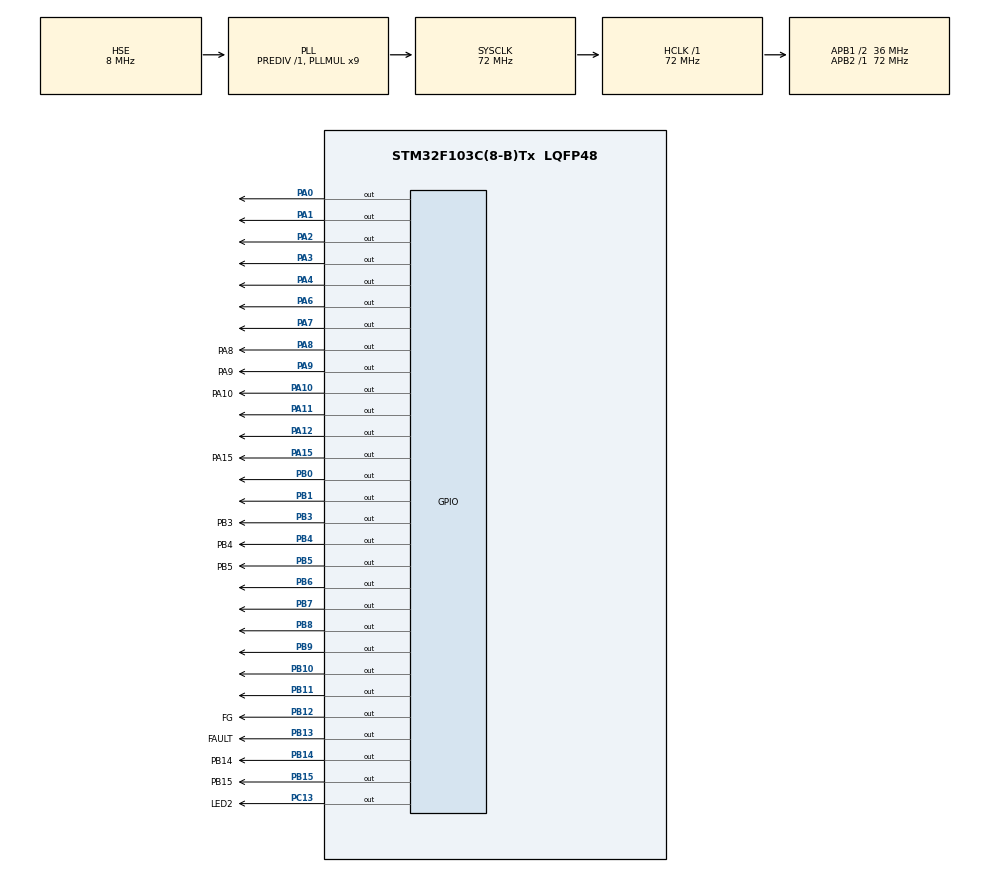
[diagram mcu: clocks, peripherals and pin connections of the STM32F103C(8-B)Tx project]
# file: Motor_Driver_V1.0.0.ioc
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FREERTOS.Tasks01=defaultTask,0,128,StartDefaultTask,Default,NULL,Dynamic,NULL,NULL
Mcu.Family=STM32F1
Mcu.Name=STM32F103C(8-B)Tx
Mcu.Package=LQFP48
NVIC.PriorityGroup=NVIC_PRIORITYGROUP_4
PA0-WKUP.Signal=GPIO_Output
PA1.Signal=GPIO_Output
PA10.GPIO_Label=PA10
PA10.Signal=GPIO_Output
PA11.Signal=GPIO_Output
PA12.Signal=GPIO_Output
PA13.Mode=Serial_Wire
PA13.Signal=SYS_JTMS-SWDIO
PA14.Mode=Serial_Wire
PA14.Signal=SYS_JTCK-SWCLK
PA15.GPIO_Label=PA15
PA15.Signal=GPIO_Output
PA2.Signal=GPIO_Output
PA3.Signal=GPIO_Output
PA4.Signal=GPIO_Output
PA6.Signal=GPIO_Output
PA7.Signal=GPIO_Output
PA8.GPIO_Label=PA8
PA8.Signal=GPIO_Output
PA9.GPIO_Label=PA9
PA9.Signal=GPIO_Output
PB0.Signal=GPIO_Output
PB1.Signal=GPIO_Output
PB10.Signal=GPIO_Output
PB11.Signal=GPIO_Output
PB12.GPIO_Label=FG
PB12.Signal=GPIO_Output
PB13.GPIO_Label=FAULT
PB13.Signal=GPIO_Output
PB14.GPIO_Label=PB14
PB14.Signal=GPIO_Output
PB15.GPIO_Label=PB15
PB15.Signal=GPIO_Output
PB3.GPIO_Label=PB3
PB3.Signal=GPIO_Output
PB4.GPIO_Label=PB4
PB4.Signal=GPIO_Output
PB5.GPIO_Label=PB5
PB5.Signal=GPIO_Output
PB6.Signal=GPIO_Output
PB7.Signal=GPIO_Output
PB8.Signal=GPIO_Output
PB9.Signal=GPIO_Output
PC13-TAMPER-RTC.GPIO_Label=LED2
PC13-TAMPER-RTC.GPIO_PuPd=GPIO_NOPULL
PC13-TAMPER-RTC.PinState=GPIO_PIN_RESET
PC13-TAMPER-RTC.Signal=GPIO_Output
PD0-OSC_IN.Mode=HSE-External-Oscillator
PD0-OSC_IN.Signal=RCC_OSC_IN
PD1-OSC_OUT.Mode=HSE-External-Oscillator
PD1-OSC_OUT.Signal=RCC_OSC_OUT
ProjectManager.HeapSize=0x200
ProjectManager.StackSize=0x400
ProjectManager.TargetToolchain=STM32CubeIDE
RCC.AHBFreq_Value=72000000
RCC.APB1CLKDivider=RCC_HCLK_DIV2
RCC.APB1Freq_Value=36000000
RCC.APB1TimFreq_Value=72000000
RCC.APB2Freq_Value=72000000
RCC.APB2TimFreq_Value=72000000
RCC.HCLKFreq_Value=72000000
RCC.PLLMUL=RCC_PLL_MUL9
RCC.PLLSourceVirtual=RCC_PLLSOURCE_HSE
RCC.SYSCLKFreq_VALUE=72000000
RCC.SYSCLKSource=RCC_SYSCLKSOURCE_PLLCLK
RCC.USBFreq_Value=72000000
TIM2.Period=1000-1
TIM2.Prescaler=72-1
VP_FREERTOS_VS_CMSIS_V1.Mode=CMSIS_V1
VP_TIM2_VS_ClockSourceINT.Mode=Internal
board=custom

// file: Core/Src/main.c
/* USER CODE BEGIN Header */
/**
  ******************************************************************************
  * @file           : main.c
  * @brief          : Main program body
  ******************************************************************************
  * @attention
  *
  * Copyright (c) 2023 STMicroelectronics.
  * All rights reserved.
  *
  * This software is licensed under terms that can be found in the LICENSE file
  * in the root directory of this software component.
  * If no LICENSE file comes with this software, it is provided AS-IS.
  *
  ******************************************************************************
  */
/* USER CODE END Header */
#include "main.h"
#include "cmsis_os.h"

/* USER CODE BEGIN PTD */
union {
	float txfloat[2];
	uint8_t txbyte[8];
}txdata;
union {
	float rxfloat[2];
	uint8_t rxdata[8];
}rxdata;
/* USER CODE END PTD */

TIM_HandleTypeDef htim2;

osThreadId defaultTaskHandle;
/* USER CODE BEGIN PV */
//CAN_TxHeaderTypeDef TxHeader;
//CAN_RxHeaderTypeDef RxHeader;
uint32_t TxMailBox[3];
/* USER CODE END PV */

void SystemClock_Config(void);
static void MX_GPIO_Init(void);
static void MX_TIM2_Init(void);
void StartDefaultTask(void const * argument);

/* USER CODE BEGIN PFP */
static void CAN_FILTER_CONFIG(void);
/* USER CODE END PFP */

int main(void)
{

  /* MCU Configuration--------------------------------------------------------*/

  /* Reset of all peripherals, Initializes the Flash interface and the Systick. */
  HAL_Init();

  /* Configure the system clock */
  SystemClock_Config();

  /* Initialize all configured peripherals */
  MX_GPIO_Init();
  MX_TIM2_Init();
  /* USER CODE BEGIN 2 */

//  HAL_CAN_Start(&hcan);
//  CAN_FILTER_CONFIG();
//  HAL_CAN_ActivateNotification(&hcan, CAN_IT_RX_FIFO0_MSG_PENDING);

  /* USER CODE END 2 */

  /* Create the thread(s) */
  /* definition and creation of defaultTask */
  osThreadDef(defaultTask, StartDefaultTask, osPriorityNormal, 0, 128);
  defaultTaskHandle = osThreadCreate(osThread(defaultTask), NULL);

  /* Start scheduler */
  osKernelStart();

  /* We should never get here as control is now taken by the scheduler */
  /* Infinite loop */
  /* USER CODE BEGIN WHILE */
  while (1)
  {
	  HAL_GPIO_WritePin(GPIOA, GPIO_PIN_0, 1);
	  HAL_GPIO_WritePin(GPIOA, GPIO_PIN_1, 1);
	  HAL_GPIO_WritePin(GPIOA, GPIO_PIN_2, 1);
	  HAL_GPIO_WritePin(GPIOA, GPIO_PIN_3, 1);
	  HAL_GPIO_WritePin(GPIOA, GPIO_PIN_4, 1);
//	  HAL_GPIO_WritePin(GPIOA, GPIO_PIN_5, 1);
	  HAL_GPIO_WritePin(GPIOA, GPIO_PIN_6, 1);
	  HAL_GPIO_WritePin(GPIOA, GPIO_PIN_7, 1);
	  HAL_GPIO_WritePin(GPIOA, GPIO_PIN_8, 1);
	  HAL_GPIO_WritePin(GPIOA, GPIO_PIN_9, 1);
	  HAL_GPIO_WritePin(GPIOA, GPIO_PIN_10, 1);
	  HAL_GPIO_WritePin(GPIOA, GPIO_PIN_11, 1);
	  HAL_GPIO_WritePin(GPIOA, GPIO_PIN_12, 1);
	  HAL_GPIO_WritePin(GPIOA, GPIO_PIN_15, 1);

	  HAL_GPIO_WritePin(GPIOB, GPIO_PIN_0, 1);
	  HAL_GPIO_WritePin(GPIOB, GPIO_PIN_1, 1);
//	  HAL_GPIO_WritePin(GPIOB, GPIO_PIN_2, 1);
	  HAL_GPIO_WritePin(GPIOB, GPIO_PIN_3, 1);
	  HAL_GPIO_WritePin(GPIOB, GPIO_PIN_4, 1);
	  HAL_GPIO_WritePin(GPIOB, GPIO_PIN_5, 1);
	  HAL_GPIO_WritePin(GPIOB, GPIO_PIN_6, 1);
	  HAL_GPIO_WritePin(GPIOB, GPIO_PIN_7, 1);
	  HAL_GPIO_WritePin(GPIOB, GPIO_PIN_8, 1);
	  HAL_GPIO_WritePin(GPIOB, GPIO_PIN_9, 1);
	  HAL_GPIO_WritePin(GPIOB, GPIO_PIN_10, 1);
	  HAL_GPIO_WritePin(GPIOB, GPIO_PIN_11, 1);
	  HAL_GPIO_WritePin(GPIOB, GPIO_PIN_12, 1);
	  HAL_GPIO_WritePin(GPIOB, GPIO_PIN_13, 1);
	  HAL_GPIO_WritePin(GPIOB, GPIO_PIN_14, 1);
	  HAL_GPIO_WritePin(GPIOB, GPIO_PIN_15, 1);

	  HAL_GPIO_WritePin(GPIOC, GPIO_PIN_13, 0);

    /* USER CODE END WHILE */

  }
}

void SystemClock_Config(void)
{
  RCC_OscInitTypeDef RCC_OscInitStruct = {0};
  RCC_ClkInitTypeDef RCC_ClkInitStruct = {0};

  /** Initializes the RCC Oscillators according to the specified parameters
  * in the RCC_OscInitTypeDef structure.
  */
  RCC_OscInitStruct.OscillatorType = RCC_OSCILLATORTYPE_HSE;
  RCC_OscInitStruct.HSEState = RCC_HSE_ON;
  RCC_OscInitStruct.HSEPredivValue = RCC_HSE_PREDIV_DIV1;
  RCC_OscInitStruct.HSIState = RCC_HSI_ON;
  RCC_OscInitStruct.PLL.PLLState = RCC_PLL_ON;
  RCC_OscInitStruct.PLL.PLLSource = RCC_PLLSOURCE_HSE;
  RCC_OscInitStruct.PLL.PLLMUL = RCC_PLL_MUL9;
  if (HAL_RCC_OscConfig(&RCC_OscInitStruct) != HAL_OK)
  {
    Error_Handler();
  }

  /** Initializes the CPU, AHB and APB buses clocks
  */
  RCC_ClkInitStruct.ClockType = RCC_CLOCKTYPE_HCLK|RCC_CLOCKTYPE_SYSCLK
                              |RCC_CLOCKTYPE_PCLK1|RCC_CLOCKTYPE_PCLK2;
  RCC_ClkInitStruct.SYSCLKSource = RCC_SYSCLKSOURCE_PLLCLK;
  RCC_ClkInitStruct.AHBCLKDivider = RCC_SYSCLK_DIV1;
  RCC_ClkInitStruct.APB1CLKDivider = RCC_HCLK_DIV2;
  RCC_ClkInitStruct.APB2CLKDivider = RCC_HCLK_DIV1;

  if (HAL_RCC_ClockConfig(&RCC_ClkInitStruct, FLASH_LATENCY_2) != HAL_OK)
  {
    Error_Handler();
  }
}

static void MX_TIM2_Init(void)
{

  TIM_ClockConfigTypeDef sClockSourceConfig = {0};
  TIM_MasterConfigTypeDef sMasterConfig = {0};

  htim2.Instance = TIM2;
  htim2.Init.Prescaler = 72-1;
  htim2.Init.CounterMode = TIM_COUNTERMODE_UP;
  htim2.Init.Period = 1000-1;
  htim2.Init.ClockDivision = TIM_CLOCKDIVISION_DIV1;
  htim2.Init.AutoReloadPreload = TIM_AUTORELOAD_PRELOAD_DISABLE;
  if (HAL_TIM_Base_Init(&htim2) != HAL_OK)
  {
    Error_Handler();
  }
  sClockSourceConfig.ClockSource = TIM_CLOCKSOURCE_INTERNAL;
  if (HAL_TIM_ConfigClockSource(&htim2, &sClockSourceConfig) != HAL_OK)
  {
    Error_Handler();
  }
  sMasterConfig.MasterOutputTrigger = TIM_TRGO_RESET;
  sMasterConfig.MasterSlaveMode = TIM_MASTERSLAVEMODE_DISABLE;
  if (HAL_TIMEx_MasterConfigSynchronization(&htim2, &sMasterConfig) != HAL_OK)
  {
    Error_Handler();
  }

}

static void MX_GPIO_Init(void)
{
  GPIO_InitTypeDef GPIO_InitStruct = {0};

  /* GPIO Ports Clock Enable */
  __HAL_RCC_GPIOC_CLK_ENABLE();
  __HAL_RCC_GPIOD_CLK_ENABLE();
  __HAL_RCC_GPIOA_CLK_ENABLE();
  __HAL_RCC_GPIOB_CLK_ENABLE();

  /*Configure GPIO pin Output Level */
  HAL_GPIO_WritePin(LED2_GPIO_Port, LED2_Pin, GPIO_PIN_RESET);

  /*Configure GPIO pin Output Level */
  HAL_GPIO_WritePin(GPIOA, GPIO_PIN_0|GPIO_PIN_1|GPIO_PIN_2|GPIO_PIN_3
                          |GPIO_PIN_4|GPIO_PIN_6|GPIO_PIN_7|PA8_Pin
                          |PA9_Pin|PA10_Pin|GPIO_PIN_11|GPIO_PIN_12
                          |PA15_Pin, GPIO_PIN_RESET);

  /*Configure GPIO pin Output Level */
  HAL_GPIO_WritePin(GPIOB, GPIO_PIN_0|GPIO_PIN_1|GPIO_PIN_10|GPIO_PIN_11
                          |FG_Pin|FAULT_Pin|PB14_Pin|PB15_Pin
                          |PB3_Pin|PB4_Pin|PB5_Pin|GPIO_PIN_6
                          |GPIO_PIN_7|GPIO_PIN_8|GPIO_PIN_9, GPIO_PIN_RESET);

  /*Configure GPIO pin : LED2_Pin */
  GPIO_InitStruct.Pin = LED2_Pin;
  GPIO_InitStruct.Mode = GPIO_MODE_OUTPUT_PP;
  GPIO_InitStruct.Pull = GPIO_NOPULL;
  GPIO_InitStruct.Speed = GPIO_SPEED_FREQ_LOW;
  HAL_GPIO_Init(LED2_GPIO_Port, &GPIO_InitStruct);

  /*Configure GPIO pins : PA0 PA1 PA2 PA3
                           PA4 PA6 PA7 PA8_Pin
                           PA9_Pin PA10_Pin PA11 PA12
                           PA15_Pin */
  GPIO_InitStruct.Pin = GPIO_PIN_0|GPIO_PIN_1|GPIO_PIN_2|GPIO_PIN_3
                          |GPIO_PIN_4|GPIO_PIN_6|GPIO_PIN_7|PA8_Pin
                          |PA9_Pin|PA10_Pin|GPIO_PIN_11|GPIO_PIN_12
                          |PA15_Pin;
  GPIO_InitStruct.Mode = GPIO_MODE_OUTPUT_PP;
  GPIO_InitStruct.Pull = GPIO_NOPULL;
  GPIO_InitStruct.Speed = GPIO_SPEED_FREQ_LOW;
  HAL_GPIO_Init(GPIOA, &GPIO_InitStruct);

  /*Configure GPIO pins : PB0 PB1 PB10 PB11
                           FG_Pin FAULT_Pin PB14_Pin PB15_Pin
                           PB3_Pin PB4_Pin PB5_Pin PB6
                           PB7 PB8 PB9 */
  GPIO_InitStruct.Pin = GPIO_PIN_0|GPIO_PIN_1|GPIO_PIN_10|GPIO_PIN_11
                          |FG_Pin|FAULT_Pin|PB14_Pin|PB15_Pin
                          |PB3_Pin|PB4_Pin|PB5_Pin|GPIO_PIN_6
                          |GPIO_PIN_7|GPIO_PIN_8|GPIO_PIN_9;
  GPIO_InitStruct.Mode = GPIO_MODE_OUTPUT_PP;
  GPIO_InitStruct.Pull = GPIO_NOPULL;
  GPIO_InitStruct.Speed = GPIO_SPEED_FREQ_LOW;
  HAL_GPIO_Init(GPIOB, &GPIO_InitStruct);

}

/* USER CODE BEGIN 4 */
//static void CAN_FILTER_CONFIG(void){
//	CAN_FilterTypeDef canfilterconfig;
//
//	canfilterconfig.FilterActivation = CAN_FILTER_ENABLE;
//	canfilterconfig.FilterBank = 0;
//	canfilterconfig.FilterFIFOAssignment = CAN_FILTER_FIFO0;
//	canfilterconfig.FilterIdHigh = 0x000;
//	canfilterconfig.FilterIdLow = 0x0000;
//	canfilterconfig.FilterMaskIdHigh = 0x0000;
//	canfilterconfig.FilterMaskIdLow = 0x0000;
//	canfilterconfig.FilterMode = CAN_FILTERMODE_IDMASK;
//	canfilterconfig.FilterScale = CAN_FILTERSCALE_32BIT;
//	canfilterconfig.SlaveStartFilterBank = 13;
//
//	HAL_CAN_ConfigFilter(&hcan, &canfilterconfig);
//}
/* USER CODE END 4 */

void StartDefaultTask(void const * argument)
{
  for(;;)
  {
    osDelay(1);
  }
}

void Error_Handler(void)
{
  __disable_irq();
  while (1)
  {
  }
}
